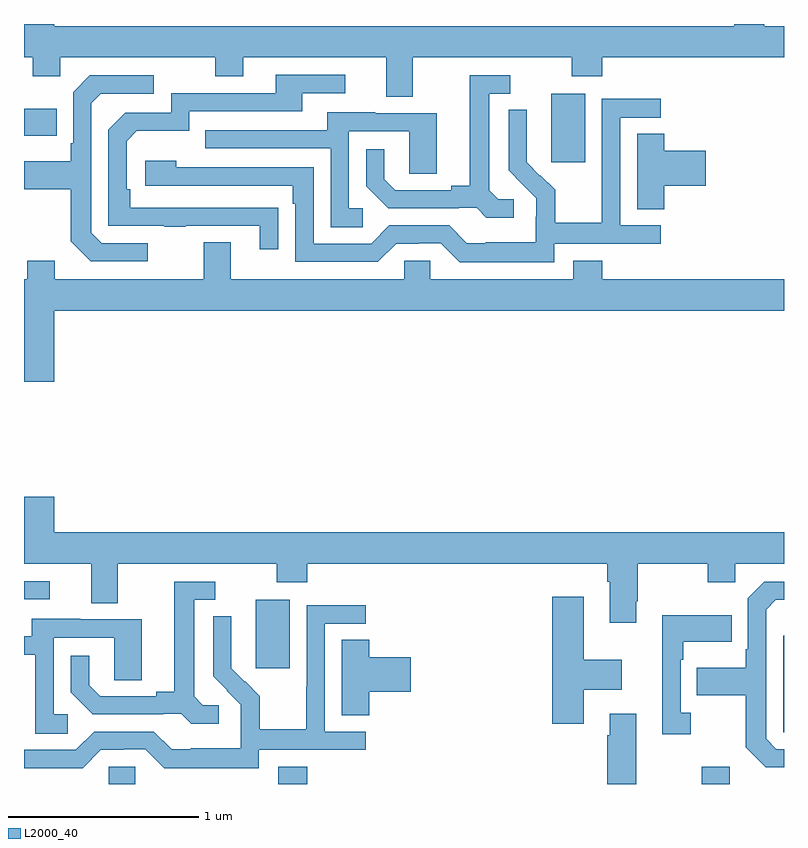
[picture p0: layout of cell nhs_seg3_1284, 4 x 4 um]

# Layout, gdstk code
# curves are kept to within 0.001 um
import gdstk
lib = gdstk.Library(unit=1e-6, precision=1e-09)
def R(c, l, rs):  # rectangles x0, y0, x1, y1
    for r in rs: c.add(gdstk.rectangle(r[:2], r[2:], *l))
def P(c, l, *ps):  # polygons
    for p in ps: c.add(gdstk.Polygon(p, *l))
L2000_40 = (2000, 40)

nhs_seg3_1284 = lib.new_cell('nhs_seg3_1284')
R(nhs_seg3_1284, L2000_40, [(177.447,722.4,177.585,722.49), (178.337,722.4,178.49,722.491), (180.568,722.4,180.715,722.491), (178.22,723.009,178.399,723.37), (177,723.372,177.136,723.468), (179.774,725.673,179.953,726.034), (177,725.813,177.173,725.953)])
P(nhs_seg3_1284, L2000_40, [(179.047,726.224),(179.884,726.224),(179.884,726.125),(180.044,726.125),(180.044,726.224),(181,726.224),(181,726.388),(180.897,726.388),(180.897,726.4),(180.737,726.4),(180.737,726.388),(177.16,726.388),(177.16,726.4),(177,726.4),(177,726.224),(177.046,726.224),(177.046,726.125),(177.192,726.125),(177.192,726.224),(178.006,726.224),(178.006,726.125),(178.153,726.125),(178.153,726.224),(178.907,726.224),(178.907,726.016),(179.047,726.016)],
  [(178.337,725.432),(177.56,725.433),(177.56,725.53),(177.54,725.53),(177.54,725.784),(177.593,725.837),(177.87,725.837),(177.87,725.94),(178.465,725.94),(178.465,726.036),(178.69,726.036),(178.69,726.132),(178.325,726.132),(178.325,726.036),(177.774,726.036),(177.774,725.934),(177.534,725.934),(177.444,725.844),(177.444,725.337),(177.739,725.337),(177.739,725.332),(177.851,725.332),(177.851,725.337),(178.241,725.337),(178.241,725.214),(178.337,725.214)],
  [(177.652,725.247),(177.408,725.247),(177.354,725.301),(177.354,725.982),(177.405,726.033),(177.682,726.033),(177.682,726.129),(177.345,726.129),(177.258,726.042),(177.258,725.773),(177.246,725.773),(177.246,725.677),(177,725.677),(177,725.53),(177.246,725.53),(177.246,725.257),(177.351,725.151),(177.652,725.151)],
  [(179.578,725.478),(179.496,725.478),(179.449,725.525),(179.449,726.033),(179.56,726.033),(179.56,726.129),(179.345,726.129),(179.345,725.549),(179.249,725.549),(179.249,725.526),(178.954,725.526),(178.897,725.583),(178.897,725.74),(178.8,725.74),(178.8,725.546),(178.916,725.43),(179.288,725.43),(179.288,725.433),(179.382,725.433),(179.434,725.381),(179.578,725.381)],
  [(179.79,725.244),(180.352,725.244),(180.352,725.34),(180.138,725.34),(180.138,725.907),(180.352,725.907),(180.352,726.006),(180.042,726.006),(180.042,725.576),(180.04,725.576),(180.04,725.353),(179.795,725.353),(179.795,725.527),(179.718,725.604),(179.715,725.601),(179.645,725.672),(179.646,725.948),(179.55,725.948),(179.55,725.63),(179.696,725.482),(179.696,725.385),(179.694,725.385),(179.694,725.251),(179.431,725.251),(179.431,725.247),(179.331,725.247),(179.238,725.34),(178.923,725.34),(178.827,725.244),(178.524,725.244),(178.524,725.646),(177.8,725.646),(177.8,725.68),(177.639,725.68),(177.639,725.55),(178.415,725.55),(178.415,725.453),(178.428,725.453),(178.428,725.148),(178.863,725.148),(178.959,725.244),(179.078,725.244),(179.078,725.247),(179.193,725.247),(179.293,725.147),(179.79,725.147)],
  [(178.783,725.43),(178.71,725.43),(178.71,725.835),(179.028,725.835),(179.028,725.611),(179.173,725.611),(179.173,725.931),(178.849,725.931),(178.849,725.935),(178.595,725.935),(178.595,725.841),(177.955,725.841),(177.955,725.745),(178.614,725.745),(178.614,725.329),(178.783,725.329)],
  [(180.371,725.549),(180.589,725.549),(180.589,725.732),(180.371,725.732),(180.371,725.822),(180.227,725.822),(180.227,725.425),(180.371,725.425)],
  [(177.16,724.892),(181,724.892),(181,725.056),(180.044,725.056),(180.044,725.155),(179.891,725.155),(179.891,725.056),(179.139,725.056),(179.139,725.154),(179.001,725.154),(179.001,725.056),(178.087,725.056),(178.087,725.251),(177.947,725.251),(177.947,725.056),(177.163,725.056),(177.163,725.155),(177.016,725.155),(177.016,725.056),(177,725.056),(177,724.518),(177.16,724.518)],
  [(180.223,723.361),(180.231,723.361),(180.231,723.56),(180.598,723.56),(180.598,723.461),(180.744,723.461),(180.744,723.56),(181,723.56),(181,723.724),(177.16,723.724),(177.16,723.913),(177,723.913),(177,723.56),(177.353,723.56),(177.353,723.352),(177.493,723.352),(177.493,723.56),(178.33,723.56),(178.33,723.461),(178.49,723.461),(178.49,723.56),(180.071,723.56),(180.071,723.464),(180.083,723.464),(180.083,723.249),(180.223,723.249)],
  [(178.024,722.814),(177.942,722.814),(177.895,722.861),(177.895,723.369),(178.006,723.369),(178.006,723.465),(177.791,723.465),(177.791,722.885),(177.695,722.885),(177.695,722.862),(177.4,722.862),(177.343,722.919),(177.343,723.076),(177.246,723.076),(177.246,722.882),(177.362,722.766),(177.734,722.766),(177.734,722.769),(177.828,722.769),(177.88,722.717),(178.024,722.717)],
  [(181,722.583),(180.96,722.583),(180.906,722.637),(180.906,723.318),(180.957,723.369),(181,723.369),(181,723.465),(180.897,723.465),(180.81,723.378),(180.81,723.109),(180.798,723.109),(180.798,723.013),(180.541,723.013),(180.541,722.866),(180.798,722.866),(180.798,722.593),(180.903,722.487),(181,722.487)],
  [(179.947,722.897),(180.145,722.897),(180.145,723.055),(179.947,723.055),(179.947,723.385),(179.78,723.385),(179.78,722.718),(179.947,722.718)],
  [(178.236,722.58),(178.798,722.58),(178.798,722.676),(178.584,722.676),(178.584,723.243),(178.798,723.243),(178.798,723.342),(178.488,723.342),(178.488,722.912),(178.486,722.912),(178.486,722.689),(178.241,722.689),(178.241,722.863),(178.164,722.94),(178.161,722.937),(178.091,723.008),(178.092,723.284),(177.996,723.284),(177.996,722.966),(178.142,722.818),(178.142,722.721),(178.14,722.721),(178.14,722.587),(177.877,722.587),(177.877,722.583),(177.777,722.583),(177.684,722.676),(177.369,722.676),(177.273,722.58),(177,722.58),(177,722.484),(177.309,722.484),(177.405,722.58),(177.524,722.58),(177.524,722.583),(177.639,722.583),(177.739,722.483),(178.236,722.483)],
  [(180.508,722.774),(180.456,722.774),(180.456,723.053),(180.469,723.053),(180.469,723.149),(180.725,723.149),(180.725,723.289),(180.359,723.289),(180.359,722.661),(180.508,722.661)],
  [(177.229,722.766),(177.156,722.766),(177.156,723.171),(177.474,723.171),(177.474,722.947),(177.619,722.947),(177.619,723.267),(177.295,723.267),(177.295,723.271),(177.041,723.271),(177.041,723.177),(177,723.177),(177,723.081),(177.06,723.081),(177.06,722.665),(177.229,722.665)],
  [(181,723.184),(180.996,723.18),(180.996,722.673),(181,722.673)],
  [(178.817,722.885),(179.035,722.885),(179.035,723.068),(178.817,723.068),(178.817,723.158),(178.673,723.158),(178.673,722.761),(178.817,722.761)],
  [(180.223,722.77),(180.083,722.77),(180.083,722.657),(180.071,722.657),(180.071,722.4),(180.223,722.4)])

lib.write_gds('nhs_seg3_1284.gds')
